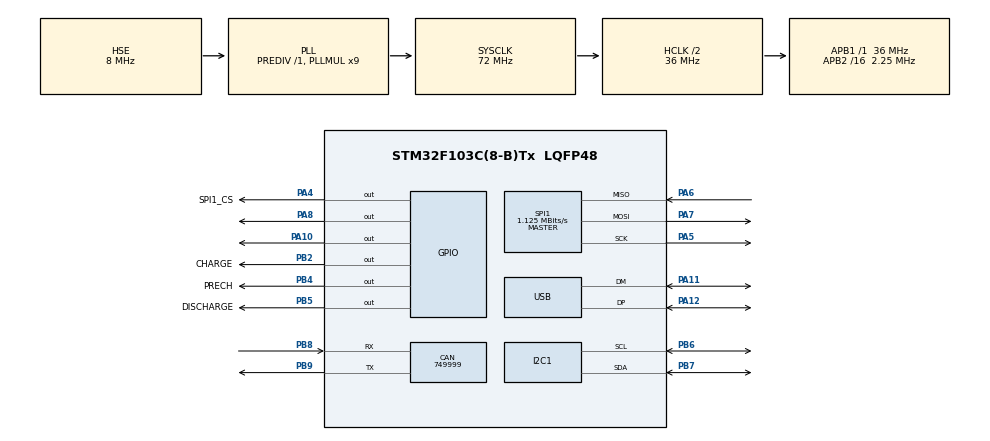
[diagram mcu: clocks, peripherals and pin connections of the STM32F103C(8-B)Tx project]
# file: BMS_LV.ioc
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CAN.BS1=CAN_BS1_1TQ
CAN.BS2=CAN_BS2_1TQ
CAN.CalculateBaudRate=749999
CAN.CalculateTimeBit=1333
CAN.CalculateTimeQuantum=444.44444444444446
Mcu.Family=STM32F1
Mcu.Name=STM32F103C(8-B)Tx
Mcu.Package=LQFP48
NVIC.PriorityGroup=NVIC_PRIORITYGROUP_4
NVIC.USB_LP_CAN1_RX0_IRQn=true\:0\:0\:false\:false\:true\:false\:true\:true
PA10.Signal=GPIO_Output
PA11.Mode=Device
PA11.Signal=USB_DM
PA12.Mode=Device
PA12.Signal=USB_DP
PA13.Mode=Serial_Wire
PA13.Signal=SYS_JTMS-SWDIO
PA14.Mode=Serial_Wire
PA14.Signal=SYS_JTCK-SWCLK
PA4.GPIO_Label=SPI1_CS
PA4.Signal=GPIO_Output
PA5.Mode=Full_Duplex_Master
PA5.Signal=SPI1_SCK
PA6.Mode=Full_Duplex_Master
PA6.Signal=SPI1_MISO
PA7.Mode=Full_Duplex_Master
PA7.Signal=SPI1_MOSI
PA8.Signal=GPIO_Output
PB2.GPIO_Label=CHARGE
PB2.Signal=GPIO_Output
PB4.GPIO_Label=PRECH
PB4.Signal=GPIO_Output
PB5.GPIO_Label=DISCHARGE
PB5.Signal=GPIO_Output
PB6.Mode=I2C
PB6.Signal=I2C1_SCL
PB7.Mode=I2C
PB7.Signal=I2C1_SDA
PB8.Mode=CAN_Activate
PB8.Signal=CAN_RX
PB9.Mode=CAN_Activate
PB9.Signal=CAN_TX
PD0-OSC_IN.Mode=HSE-External-Oscillator
PD0-OSC_IN.Signal=RCC_OSC_IN
PD1-OSC_OUT.Mode=HSE-External-Oscillator
PD1-OSC_OUT.Signal=RCC_OSC_OUT
ProjectManager.HeapSize=0x200
ProjectManager.StackSize=0x400
ProjectManager.TargetToolchain=STM32CubeIDE
RCC.AHBCLKDivider=RCC_SYSCLK_DIV2
RCC.AHBFreq_Value=36000000
RCC.APB1Freq_Value=36000000
RCC.APB1TimFreq_Value=36000000
RCC.APB2CLKDivider=RCC_HCLK_DIV16
RCC.APB2Freq_Value=2250000
RCC.APB2TimFreq_Value=4500000
RCC.HCLKFreq_Value=36000000
RCC.PLLMUL=RCC_PLL_MUL9
RCC.SYSCLKFreq_VALUE=72000000
RCC.SYSCLKSource=RCC_SYSCLKSOURCE_PLLCLK
RCC.TimSys_Div=SYSTICK_CLKSOURCE_HCLK_DIV8
RCC.USBFreq_Value=48000000
RCC.USBPrescaler=RCC_USBCLKSOURCE_PLL_DIV1_5
SPI1.CalculateBaudRate=1.125 MBits/s
SPI1.Direction=SPI_DIRECTION_2LINES
SPI1.Mode=SPI_MODE_MASTER
SPI1.VirtualType=VM_MASTER
USB_DEVICE.CLASS_NAME_FS=CDC
USB_DEVICE.VirtualMode=Cdc
USB_DEVICE.VirtualModeFS=Cdc_FS
VP_USB_DEVICE_VS_USB_DEVICE_CDC_FS.Mode=CDC_FS
board=custom

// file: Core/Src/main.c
 /* USER CODE BEGIN Header */
/**
 ******************************************************************************
 * @file           : main.c
 * @brief          : Main program body
 ******************************************************************************
 * @attention
 *
 * Copyright (c) 2025 STMicroelectronics.
 * All rights reserved.
 *
 * This software is licensed under terms that can be found in the LICENSE file
 * in the root directory of this software component.
 * If no LICENSE file comes with this software, it is provided AS-IS.
 *
 ******************************************************************************
 */
/* USER CODE END Header */
#include "main.h"
#include "usb_device.h"

/* USER CODE BEGIN Includes */
#include <stdbool.h>
/* USER CODE END Includes */

/* USER CODE BEGIN PD */

#define CHG_Pin              GPIO_PIN_2
#define CHG_GPIO_Port        GPIOB
#define DIS_Pin           GPIO_PIN_5
#define DIS_GPIO_Port     GPIOB

/* USER CODE END PD */

CAN_HandleTypeDef hcan;

I2C_HandleTypeDef hi2c1;

SPI_HandleTypeDef hspi1;

/* USER CODE BEGIN PV */
typedef enum {
	BMS_STATE_OFF, BMS_STATE_CHG, BMS_STATE_DIS, BMS_STATE_NORMAL
} BmsState;

BmsState state = BMS_STATE_OFF;

bool chg_allowed = false;
bool dis_allowed = false;
float pack_current = 0.0f;

/* USER CODE END PV */

void SystemClock_Config(void);
static void MX_GPIO_Init(void);
static void MX_CAN_Init(void);
static void MX_I2C1_Init(void);
static void MX_SPI1_Init(void);
/* USER CODE BEGIN PFP */
void bms_state_machine(void);
void bms_chg_switch(bool enable);
void bms_dis_switch(bool enable);
void led_green(bool on);
void led_red(bool on);
void update_leds(void);

/* USER CODE END PFP */

int main(void)
{

  /* MCU Configuration--------------------------------------------------------*/

  /* Reset of all peripherals, Initializes the Flash interface and the Systick. */
  HAL_Init();

  /* Configure the system clock */
  SystemClock_Config();

  /* Initialize all configured peripherals */
  MX_GPIO_Init();
  MX_CAN_Init();
  MX_I2C1_Init();
  MX_USB_DEVICE_Init();
  MX_SPI1_Init();
  /* USER CODE BEGIN 2 */

	// Start precharge (PRECH = 1)

	HAL_GPIO_WritePin(PRECH_GPIO_Port, PRECH_Pin, GPIO_PIN_RESET);

	//Stop precharge and enable discharge (PRECH = 0, DISCHARGE = 1)

	HAL_GPIO_WritePin(DISCHARGE_GPIO_Port, DISCHARGE_Pin, GPIO_PIN_SET);

	HAL_GPIO_WritePin(CHARGE_GPIO_Port, CHARGE_Pin, GPIO_PIN_RESET);

	//HAL_GPIO_WritePin(PRECH_GPIO_Port, PRECH_Pin, GPIO_PIN_RESET);  // PRECH off

  /* USER CODE END 2 */

  /* Infinite loop */
  /* USER CODE BEGIN WHILE */
	while (1) {

        //bms_state_machine();

        // For testing: toggle flags every 3 seconds

        /*HAL_Delay(3000);
        chg_allowed = !chg_allowed;
        dis_allowed = !dis_allowed;*/

		led_green(true);
		led_red(false);
		HAL_Delay(1000);
		led_green(false);
		led_red(true);
		HAL_Delay(2000);

    /* USER CODE END WHILE */

	}
}

void SystemClock_Config(void)
{
  RCC_OscInitTypeDef RCC_OscInitStruct = {0};
  RCC_ClkInitTypeDef RCC_ClkInitStruct = {0};
  RCC_PeriphCLKInitTypeDef PeriphClkInit = {0};

  /** Initializes the RCC Oscillators according to the specified parameters
  * in the RCC_OscInitTypeDef structure.
  */
  RCC_OscInitStruct.OscillatorType = RCC_OSCILLATORTYPE_HSE;
  RCC_OscInitStruct.HSEState = RCC_HSE_ON;
  RCC_OscInitStruct.HSEPredivValue = RCC_HSE_PREDIV_DIV1;
  RCC_OscInitStruct.HSIState = RCC_HSI_ON;
  RCC_OscInitStruct.PLL.PLLState = RCC_PLL_ON;
  RCC_OscInitStruct.PLL.PLLSource = RCC_PLLSOURCE_HSE;
  RCC_OscInitStruct.PLL.PLLMUL = RCC_PLL_MUL9;
  if (HAL_RCC_OscConfig(&RCC_OscInitStruct) != HAL_OK)
  {
    Error_Handler();
  }

  /** Initializes the CPU, AHB and APB buses clocks
  */
  RCC_ClkInitStruct.ClockType = RCC_CLOCKTYPE_HCLK|RCC_CLOCKTYPE_SYSCLK
                              |RCC_CLOCKTYPE_PCLK1|RCC_CLOCKTYPE_PCLK2;
  RCC_ClkInitStruct.SYSCLKSource = RCC_SYSCLKSOURCE_PLLCLK;
  RCC_ClkInitStruct.AHBCLKDivider = RCC_SYSCLK_DIV2;
  RCC_ClkInitStruct.APB1CLKDivider = RCC_HCLK_DIV1;
  RCC_ClkInitStruct.APB2CLKDivider = RCC_HCLK_DIV16;

  if (HAL_RCC_ClockConfig(&RCC_ClkInitStruct, FLASH_LATENCY_2) != HAL_OK)
  {
    Error_Handler();
  }
  PeriphClkInit.PeriphClockSelection = RCC_PERIPHCLK_USB;
  PeriphClkInit.UsbClockSelection = RCC_USBCLKSOURCE_PLL_DIV1_5;
  if (HAL_RCCEx_PeriphCLKConfig(&PeriphClkInit) != HAL_OK)
  {
    Error_Handler();
  }
}

static void MX_CAN_Init(void)
{

  hcan.Instance = CAN1;
  hcan.Init.Prescaler = 16;
  hcan.Init.Mode = CAN_MODE_NORMAL;
  hcan.Init.SyncJumpWidth = CAN_SJW_1TQ;
  hcan.Init.TimeSeg1 = CAN_BS1_1TQ;
  hcan.Init.TimeSeg2 = CAN_BS2_1TQ;
  hcan.Init.TimeTriggeredMode = DISABLE;
  hcan.Init.AutoBusOff = DISABLE;
  hcan.Init.AutoWakeUp = DISABLE;
  hcan.Init.AutoRetransmission = DISABLE;
  hcan.Init.ReceiveFifoLocked = DISABLE;
  hcan.Init.TransmitFifoPriority = DISABLE;
  if (HAL_CAN_Init(&hcan) != HAL_OK)
  {
    Error_Handler();
  }

}

static void MX_I2C1_Init(void)
{

  hi2c1.Instance = I2C1;
  hi2c1.Init.ClockSpeed = 100000;
  hi2c1.Init.DutyCycle = I2C_DUTYCYCLE_2;
  hi2c1.Init.OwnAddress1 = 0;
  hi2c1.Init.AddressingMode = I2C_ADDRESSINGMODE_7BIT;
  hi2c1.Init.DualAddressMode = I2C_DUALADDRESS_DISABLE;
  hi2c1.Init.OwnAddress2 = 0;
  hi2c1.Init.GeneralCallMode = I2C_GENERALCALL_DISABLE;
  hi2c1.Init.NoStretchMode = I2C_NOSTRETCH_DISABLE;
  if (HAL_I2C_Init(&hi2c1) != HAL_OK)
  {
    Error_Handler();
  }

}

static void MX_SPI1_Init(void)
{

  /* SPI1 parameter configuration*/
  hspi1.Instance = SPI1;
  hspi1.Init.Mode = SPI_MODE_MASTER;
  hspi1.Init.Direction = SPI_DIRECTION_2LINES;
  hspi1.Init.DataSize = SPI_DATASIZE_8BIT;
  hspi1.Init.CLKPolarity = SPI_POLARITY_LOW;
  hspi1.Init.CLKPhase = SPI_PHASE_1EDGE;
  hspi1.Init.NSS = SPI_NSS_SOFT;
  hspi1.Init.BaudRatePrescaler = SPI_BAUDRATEPRESCALER_2;
  hspi1.Init.FirstBit = SPI_FIRSTBIT_MSB;
  hspi1.Init.TIMode = SPI_TIMODE_DISABLE;
  hspi1.Init.CRCCalculation = SPI_CRCCALCULATION_DISABLE;
  hspi1.Init.CRCPolynomial = 10;
  if (HAL_SPI_Init(&hspi1) != HAL_OK)
  {
    Error_Handler();
  }

}

static void MX_GPIO_Init(void)
{
  GPIO_InitTypeDef GPIO_InitStruct = {0};

  /* GPIO Ports Clock Enable */
  __HAL_RCC_GPIOD_CLK_ENABLE();
  __HAL_RCC_GPIOA_CLK_ENABLE();
  __HAL_RCC_GPIOB_CLK_ENABLE();

  /*Configure GPIO pin Output Level */
  HAL_GPIO_WritePin(GPIOA, SPI1_CS_Pin|GPIO_PIN_8|GPIO_PIN_10, GPIO_PIN_RESET);

  /*Configure GPIO pin Output Level */
  HAL_GPIO_WritePin(GPIOB, CHARGE_Pin|PRECH_Pin|DISCHARGE_Pin, GPIO_PIN_RESET);

  /*Configure GPIO pins : SPI1_CS_Pin PA8 PA10 */
  GPIO_InitStruct.Pin = SPI1_CS_Pin|GPIO_PIN_8|GPIO_PIN_10;
  GPIO_InitStruct.Mode = GPIO_MODE_OUTPUT_PP;
  GPIO_InitStruct.Pull = GPIO_NOPULL;
  GPIO_InitStruct.Speed = GPIO_SPEED_FREQ_LOW;
  HAL_GPIO_Init(GPIOA, &GPIO_InitStruct);

  /*Configure GPIO pins : CHARGE_Pin PRECH_Pin DISCHARGE_Pin */
  GPIO_InitStruct.Pin = CHARGE_Pin|PRECH_Pin|DISCHARGE_Pin;
  GPIO_InitStruct.Mode = GPIO_MODE_OUTPUT_PP;
  GPIO_InitStruct.Pull = GPIO_NOPULL;
  GPIO_InitStruct.Speed = GPIO_SPEED_FREQ_LOW;
  HAL_GPIO_Init(GPIOB, &GPIO_InitStruct);

}

/* USER CODE BEGIN 4 */

void bms_chg_switch(bool enable) {
    HAL_GPIO_WritePin(CHG_GPIO_Port, CHG_Pin,
                      enable ? GPIO_PIN_RESET : GPIO_PIN_SET); // lógica invertida
}

void bms_dis_switch(bool enable) {
    HAL_GPIO_WritePin(DIS_GPIO_Port, DIS_Pin,
                      enable ? GPIO_PIN_RESET : GPIO_PIN_SET); // lógica invertida
}

void led_green(bool on) {
    HAL_GPIO_WritePin(GPIOA, GPIO_PIN_10, on ? GPIO_PIN_SET : GPIO_PIN_RESET);
}

void led_red(bool on) {
    HAL_GPIO_WritePin(GPIOA, GPIO_PIN_15, on ? GPIO_PIN_SET : GPIO_PIN_RESET);
}

void bms_state_machine(void) {
    switch (state) {
        case BMS_STATE_OFF:
            if (dis_allowed) {
                bms_dis_switch(true);
                bms_chg_switch(false);
                state = BMS_STATE_DIS;
            } else if (chg_allowed) {
                bms_chg_switch(true);
                bms_dis_switch(false);
                state = BMS_STATE_CHG;
            }
            break;

        case BMS_STATE_CHG:
            if (!chg_allowed) {
                bms_chg_switch(false);
                bms_dis_switch(false);
                state = BMS_STATE_OFF;
            } else if (dis_allowed) {
                bms_dis_switch(true);
                state = BMS_STATE_NORMAL;
            }
#ifdef ENABLE_PACK_CURRENT_LOGIC
            else {
                if (pack_current > 0.5f) {
                    bms_dis_switch(true);
                } else if (pack_current < 0.1f) {
                    bms_dis_switch(false);
                }
            }
#endif
            break;

        case BMS_STATE_DIS:
            if (!dis_allowed) {
                bms_dis_switch(false);
                bms_chg_switch(false);
                state = BMS_STATE_OFF;
            } else if (chg_allowed) {
                bms_chg_switch(true);
                state = BMS_STATE_NORMAL;
            }
#ifdef ENABLE_PACK_CURRENT_LOGIC
            else {
                if (pack_current < -0.5f) {
                    bms_chg_switch(true);
                } else if (pack_current > -0.1f) {
                    bms_chg_switch(false);
                }
            }
#endif
            break;

        case BMS_STATE_NORMAL:
            if (!dis_allowed) {
                bms_dis_switch(false);
                state = BMS_STATE_CHG;
            } else if (!chg_allowed) {
                bms_chg_switch(false);
                state = BMS_STATE_DIS;
            }
            break;
    }

    update_leds();
}

void update_leds(void) {
    switch (state) {
        case BMS_STATE_CHG:
            led_green(true);
            led_red(false);
            break;
        case BMS_STATE_DIS:
            led_green(false);
            led_red(true);
            break;
        case BMS_STATE_NORMAL:
            led_green(false);
            led_red(false);
            break;
        default:
            led_green(false);
            led_red(false);
            break;
    }
}

/* USER CODE END 4 */

void Error_Handler(void)
{
	__disable_irq();
	while (1) {
	}
}
